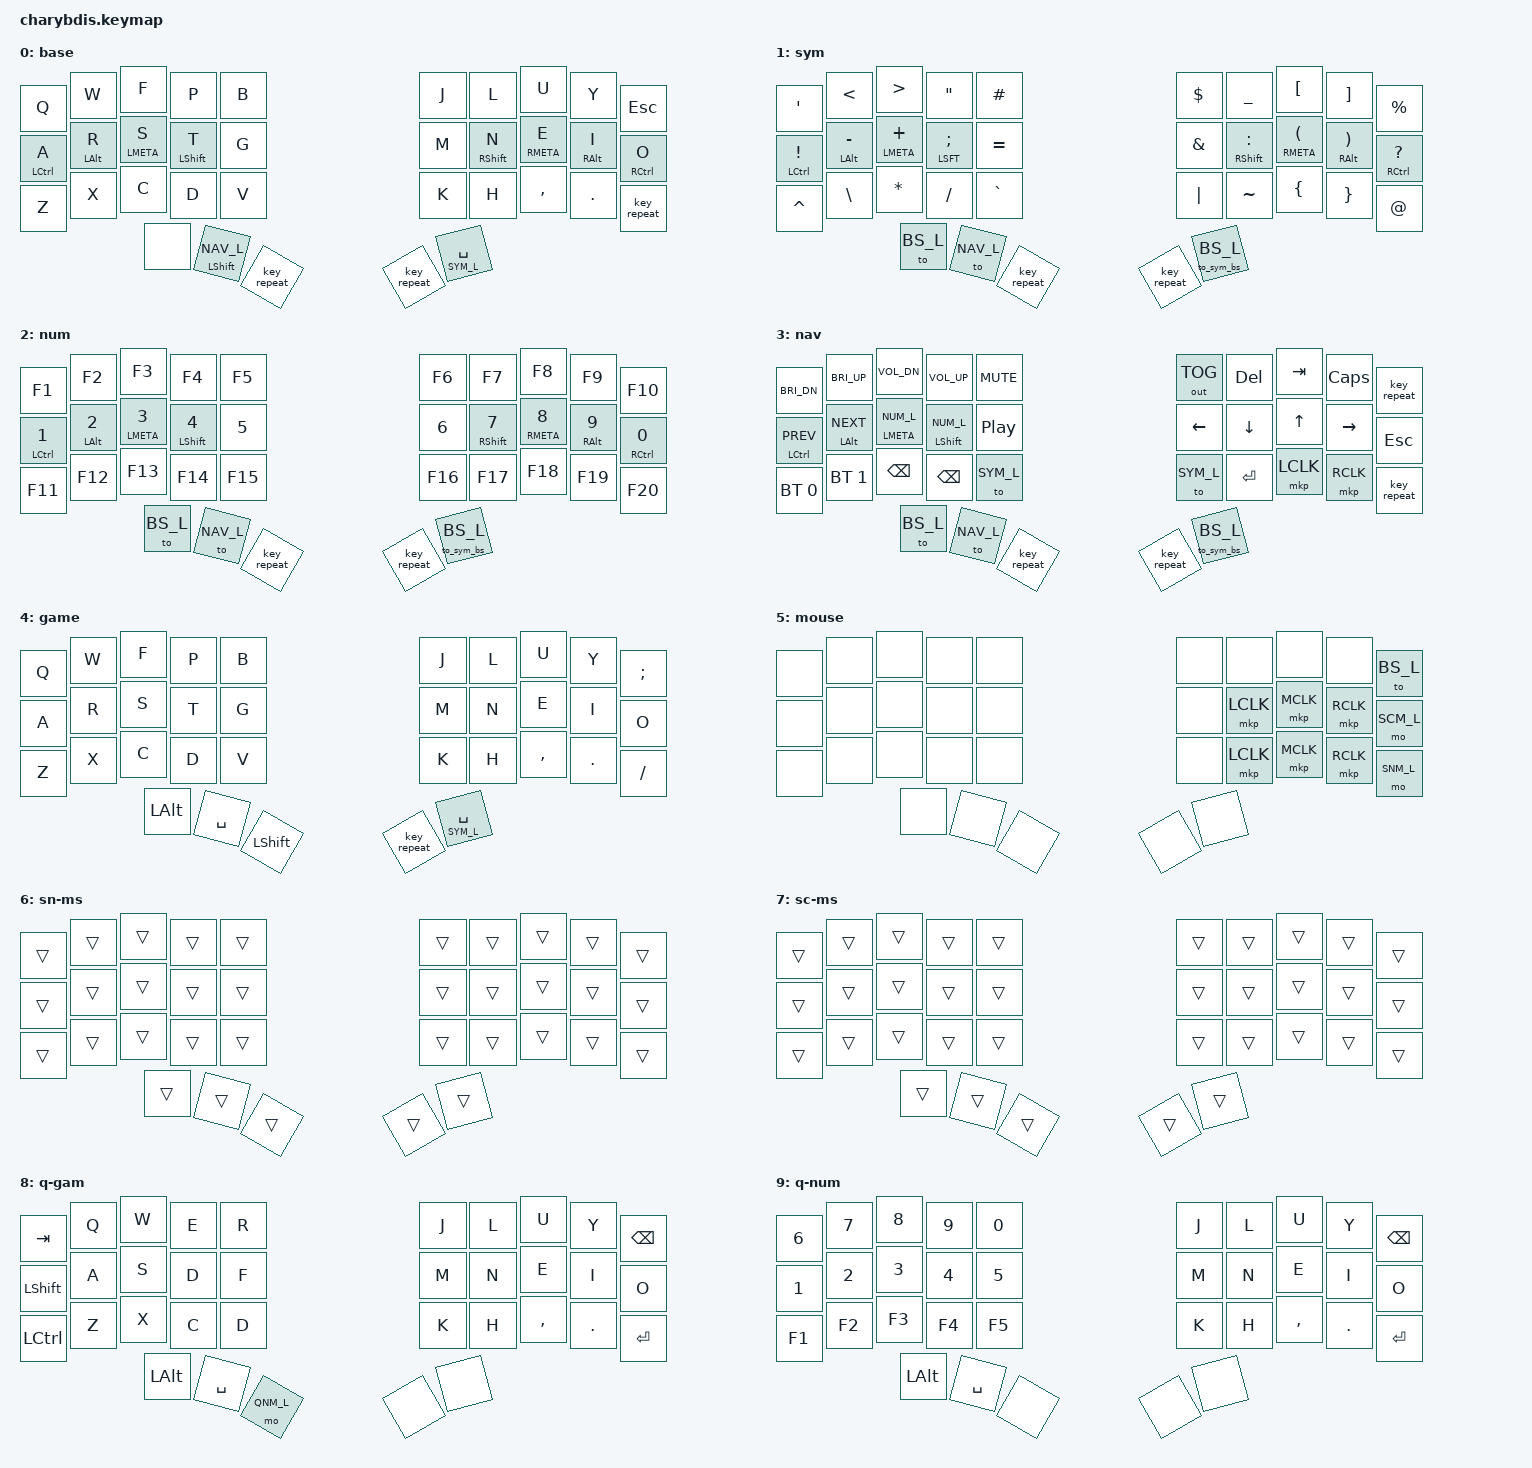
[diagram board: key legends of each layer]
#include <behaviors.dtsi>
#include <dt-bindings/zmk/bt.h>
#include <dt-bindings/zmk/keys.h>
#include <dt-bindings/zmk/mouse.h>
#include <dt-bindings/zmk/outputs.h>
#include <behaviors/mouse_keys.dtsi>
#include <dt-bindings/zmk/ext_power.h>

#define MACRO_PLACEHOLDER 0

// variables
#define HOLD_MS       1000  // time after which hold action is activated
#define TAP_DANCE_MS  1000  // max time between tap-dance taps

// layers
#define BS_L  0
#define SYM_L 1
#define NUM_L 2
#define NAV_L 3
#define GAM_L 4
#define MS_L  5
#define SNM_L 6
#define SCM_L 7
#define QGM_L 8
#define QNM_L 8

// redefines
#define BRIUP C_BRI_UP
#define BRIDN C_BRI_DN
#define VOLUP C_VOL_UP
#define VOLDN C_VOL_DN
#define VMUTE C_MUTE

/ {
    /* input config for mouse move mode */
    trackball_listener {
        compatible = "zmk,input-behavior-listener";
        device = <&vtrackball>;
        layers = <BS_L MS_L>;
        evt-type = <INPUT_EV_REL>;
        x-input-code = <INPUT_REL_X>;
        y-input-code = <INPUT_REL_Y>;
        scale-multiplier = <7>;
        scale-divisor = <10>;
        // bindings = <&ib_toggle_layer 7>;
    };

    /* input config for snipe mode */
    trackball_snipe_listener {
        compatible = "zmk,input-behavior-listener";
        device = <&vtrackball>;
        layers = <NAV_L SNM_L>;
        evt-type = <INPUT_EV_REL>;

        x-input-code = <INPUT_REL_X>;
        y-input-code = <INPUT_REL_Y>;
        scale-multiplier = <3>;
        scale-divisor = <10>;
    };

    /* input config for mouse scroll mode */
    trackball_scroll_listener {
        compatible = "zmk,input-behavior-listener";
        device = <&vtrackball>;
        layers = <NUM_L SCM_L>;
        evt-type = <INPUT_EV_REL>;
        x-input-code = <INPUT_REL_MISC>;
        y-input-code = <INPUT_REL_WHEEL>;
        scale-multiplier = <2>;
        scale-divisor = <5>;
        bindings = <&ib_wheel_scaler 1 14>;
    };

    /* define a resolution down scaler only for INPUT_REL_WHEEL */
    ib_wheel_scaler: ib_wheel_scaler {
        compatible = "zmk,input-behavior-scaler";
        #binding-cells = <2>;
        evt-type = <INPUT_EV_REL>;
        input-code = <INPUT_REL_WHEEL>;
    };

    /* adjust cooldown waiting period for mouse key layer after activated */
    ib_toggle_layer: ib_toggle_layer {
        compatible = "zmk,input-behavior-tog-layer";
        #binding-cells = <1>;
        time-to-live-ms = <750>;
    };

    behaviors {
        hrm: home_row_mod {
            compatible = "zmk,behavior-hold-tap";
            #binding-cells = <2>;
            flavor = "balanced";
            tapping-term-ms = <HOLD_MS>;
            bindings = <&kp>, <&kp>;
        };

        lp: layer_key_press {
            compatible = "zmk,behavior-hold-tap";
            #binding-cells = <2>;
            flavor = "balanced";
            tapping-term-ms = <HOLD_MS>;
            bindings = <&mo>, <&kp>;
        };

        klp: key_layer_press {
            compatible = "zmk,behavior-hold-tap";
            #binding-cells = <2>;
            flavor = "balanced";
            tapping-term-ms = <HOLD_MS>;
            bindings = <&kp>, <&to>;
        };

        // unused?
        ll: layer_layer_press {
            compatible = "zmk,behavior-hold-tap";
            #binding-cells = <2>;
            flavor = "balanced";
            tapping-term-ms = <HOLD_MS>;
            bindings = <&mo>, <&to>;
        };

        hth: hold_tap_hold_preferred {
            compatible = "zmk,behavior-hold-tap";
            #binding-cells = <2>;
            flavor = "hold-preferred";
            tapping-term-ms = <HOLD_MS>;
            bindings = <&kp>, <&kp>;
        };

        tsb: to_sym_bs {
            compatible = "zmk,behavior-hold-tap";
            #binding-cells = <2>;
            flavor = "balanced";
            tapping-term-ms = <HOLD_MS>;
            bindings = <&to_sym_bs>, <&to>;
        };
    };

    macros {
        cp: copy {
            compatible = "zmk,behavior-macro";
            #binding-cells = <0>;
            bindings = <&macro_press &kp LMETA>, <&macro_tap &kp C>, <&macro_release &kp LMETA>;
        };
        to_sym_bs: to_sym_bs_macro {
            compatible = "zmk,behavior-macro-one-param";
            #binding-cells = <1>;
            bindings = <&macro_tap &to SYM_L>, <&macro_tap &to BS_L>, <&macro_press &mo SYM_L>, <&macro_pause_for_release>, <&macro_release &mo SYM_L>;
        };
    };

    combos {
        compatible = "zmk,combos";
        combo_gam_ms_to_bs_l {
            timeout-ms = <HOLD_MS>;
            key-positions = <33 34>;
            layers = <GAM_L MS_L QGM_L QNM_L>;
            bindings = <&to BS_L>;
        };
        combo_bs_to_gam_l {
            timeout-ms = <HOLD_MS>;
            key-positions = <30 31>;
            layers = <BS_L>;
            bindings = <&to GAM_L>;
        };
        combo_bs_to_qgm_l {
            timeout-ms = <HOLD_MS>;
            key-positions = <30 34>;
            layers = <BS_L>;
            bindings = <&to QGM_L>;
        };
        combo_clear_bt {
            timeout-ms = <HOLD_MS>;
            key-positions = <20 21 22>;
            layers = <NAV_L>;
            bindings = <&bt BT_CLR>;
        };
        copy {
            timeout-ms = <HOLD_MS>;
            key-positions = <12 22>;
            layers = <BS_L>;
            bindings = <&cp>;
        };
    };

    keymap {
        // view with :set tabstop=18
        // TODO: move to NUM_L to better finger

        compatible = "zmk,keymap";

        base_layer {
            display-name = "base";
            bindings = <
&kp Q	&kp W	&kp F	&kp P	&kp B		&kp J	&kp L	&kp U	&kp Y	&kp ESC
&hrm LCTRL A	&hrm LALT R	&hrm LMETA S	&hrm LSHFT T	&kp G		&kp M	&hrm RSHFT N	&hrm RMETA E	&hrm RALT I	&hrm RCTRL O
&kp Z	&kp X	&kp C	&kp D	&kp V		&kp K	&kp H	&kp COMMA	&kp DOT	&key_repeat
		&none 	&klp LSHFT NAV_L	&key_repeat		&key_repeat	&lp SYM_L SPACE
            >;
        };

        symbol_layer {
            display-name = "sym";
            bindings = <
&kp SQT	&kp LT 	&kp GT	&kp DQT	&kp POUND		&kp DLLR	&kp UNDER	&kp LBKT	&kp RBKT	&kp PRCNT
&hrm LCTRL EXCL	&hrm LALT MINUS	&hrm LMETA PLUS	&hrm LSFT SEMI	&kp EQUAL		&kp AMPS	&hrm RSHFT COLON	&hrm RMETA LPAR	&hrm RALT RPAR	&hrm RCTRL QMARK
&kp CARET	&kp BSLH	&kp STAR	&kp FSLH	&kp GRAVE		&kp PIPE	&kp TILDE	&kp LBRC	&kp RBRC	&kp AT
		&to BS_L	&to NAV_L	&key_repeat		&key_repeat	&tsb 0 BS_L
            >;
        };

        num_layer {
            display-name = "num";
            bindings = <
&kp F1	&kp F2	&kp F3	&kp F4	&kp F5		&kp F6	&kp F7	&kp F8	&kp F9	&kp F10
&hrm LCTRL N1	&hrm LALT N2	&hrm LMETA N3	&hrm LSHFT N4	&kp N5		&kp N6	&hrm RSHFT N7	&hrm RMETA N8	&hrm RALT N9	&hrm RCTRL N0
&kp F11	&kp F12	&kp F13	&kp F14	&kp F15		&kp F16	&kp F17	&kp F18	&kp F19	&kp F20
		&to BS_L	&to NAV_L	&key_repeat		&key_repeat	&tsb 0 BS_L
            >;
        };

        nav_layer {
            display-name = "nav";
            bindings = <
&kp BRIDN	&kp BRIUP	&kp VOLDN	&kp VOLUP	&kp VMUTE		&out OUT_TOG	&kp DEL	&kp TAB	&kp CAPS	&key_repeat
&hth LCTRL C_PREV	&hth LALT C_NEXT	&klp LMETA NUM_L	&klp LSHFT NUM_L	&kp C_PP		&kp LEFT	&kp DOWN	&kp UP	&kp RIGHT	&kp ESC
&bt BT_SEL 0	&bt BT_SEL 1	&kp BSPC	&kp BSPC	&to SYM_L		&to SYM_L	&kp RET	&mkp LCLK	&mkp RCLK	&key_repeat
		&to BS_L	&to NAV_L	&key_repeat 		&key_repeat	&tsb 0 BS_L
            >;
        };

        gaming_layer {
            display-name = "game";
            bindings = <
&kp Q	&kp W	&kp F	&kp P	&kp B		&kp J	&kp L	&kp U	&kp Y	&kp SEMI
&kp A	&kp R	&kp S	&kp T	&kp G		&kp M	&kp N	&kp E	&kp I	&kp O
&kp Z	&kp X	&kp C	&kp D	&kp V		&kp K	&kp H	&kp COMMA	&kp DOT	&kp FSLH
		&kp LALT	&kp SPACE	&kp LSHFT 		&key_repeat	&hrm SYM_L SPACE
            >;
        };

        mouse_layer {
            display-name = "mouse";
            bindings = <
&none	&none	&none	&none	&none		&none	&none	&none	&none	&to BS_L
&none	&none	&none	&none	&none		&none	&mkp LCLK	&mkp MCLK	&mkp RCLK	&mo SCM_L
&none	&none	&none	&none	&none		&none	&mkp LCLK	&mkp MCLK	&mkp RCLK	&mo SNM_L
		&none	&none	&none 		&none	&none
            >;
        };

        snipe_mouse_layer {
            display-name = "sn-ms";
            bindings = <
&trans	&trans	&trans	&trans	&trans		&trans	&trans	&trans	&trans	&trans
&trans	&trans	&trans	&trans	&trans		&trans	&trans	&trans	&trans	&trans
&trans	&trans	&trans	&trans	&trans		&trans	&trans	&trans	&trans	&trans
		&trans	&trans	&trans 		&trans	&trans
            >;
        };

        scroll_mouse_layer {
            display-name = "sc-ms";
            bindings = <
&trans	&trans	&trans	&trans	&trans		&trans	&trans	&trans	&trans	&trans
&trans	&trans	&trans	&trans	&trans		&trans	&trans	&trans	&trans	&trans
&trans	&trans	&trans	&trans	&trans		&trans	&trans	&trans	&trans	&trans
		&trans	&trans	&trans 		&trans	&trans
            >;
        };

        // for games that have wasd and no keybinds
        qwerty_gaming_layer {
            display-name = "q-gam";
            bindings = <
&kp TAB	&kp Q	&kp W	&kp E	&kp R		&kp J	&kp L	&kp U	&kp Y	&kp BSPC
&kp LSHFT	&kp A	&kp S	&kp D	&kp F		&kp M	&kp N	&kp E	&kp I	&kp O
&kp LCTRL	&kp Z	&kp X	&kp C	&kp D		&kp K	&kp H	&kp COMMA	&kp DOT	&kp RET
		&kp LALT	&kp SPACE	&mo QNM_L 		&none	&none
            >;
        };

        qwerty_num_layer {
            display-name = "q-num";
            bindings = <
&kp N6	&kp N7	&kp N8	&kp N9	&kp N0		&kp J	&kp L	&kp U	&kp Y	&kp BSPC
&kp N1	&kp N2	&kp N3	&kp N4	&kp N5		&kp M	&kp N	&kp E	&kp I	&kp O
&kp F1	&kp F2	&kp F3	&kp F4	&kp F5		&kp K	&kp H	&kp COMMA	&kp DOT	&kp RET
		&kp LALT	&kp SPACE	&none 		&none	&none
            >;
        };
   };
};
